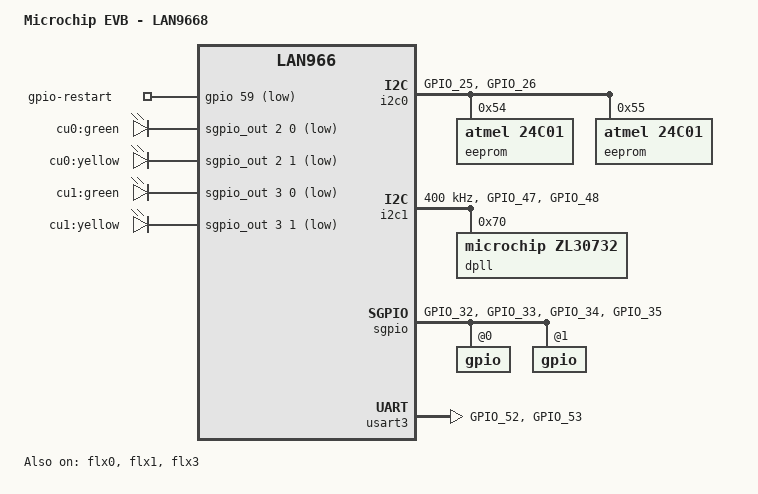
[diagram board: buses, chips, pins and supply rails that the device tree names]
// SPDX-License-Identifier: (GPL-2.0+ OR MIT)
/*
 * lan966x-pcb8385.dts - Device Tree file for PCB8385
 */
/dts-v1/;

#include "lan966x.dtsi"
#include "dt-bindings/phy/phy-lan966x-serdes.h"

/ {
	model = "Microchip EVB - LAN9668";
	compatible = "microchip,lan9668-pcb8385", "microchip,lan9668", "microchip,lan966";

	aliases {
		serial0 = &usart3;
	};

	chosen {
		stdout-path = "serial0:115200n8";
	};

	gpio-restart {
		compatible = "gpio-restart";
		gpios = <&gpio 59 GPIO_ACTIVE_LOW>;
		open-source;
		priority = <200>;
	};

	leds {
		compatible = "gpio-leds";

		led-p1-green {
			label = "cu0:green";
			gpios = <&sgpio_out 2 0 GPIO_ACTIVE_LOW>;
			default-state = "off";
		};

		led-p1-yellow {
			label = "cu0:yellow";
			gpios = <&sgpio_out 2 1 GPIO_ACTIVE_LOW>;
			default-state = "off";
		};

		led-p2-green {
			label = "cu1:green";
			gpios = <&sgpio_out 3 0 GPIO_ACTIVE_LOW>;
			default-state = "off";
		};

		led-p2-yellow {
			label = "cu1:yellow";
			gpios = <&sgpio_out 3 1 GPIO_ACTIVE_LOW>;
			default-state = "off";
		};
	};
};

&aes {
	status = "reserved"; /* Reserved by secure OS */
};

&flx0 {
	atmel,flexcom-mode = <ATMEL_FLEXCOM_MODE_TWI>;
	status = "okay";
};

&flx1 {
	atmel,flexcom-mode = <ATMEL_FLEXCOM_MODE_TWI>;
	status = "okay";
};

&flx3 {
	atmel,flexcom-mode = <ATMEL_FLEXCOM_MODE_USART>;
	status = "okay";
};

&gpio {
	fc0_b_pins: fc0-b-pins {
		/* SCL, SDA */
		pins = "GPIO_25", "GPIO_26";
		function = "fc0_b";
	};

	fc1_c_pins: fc1-c-pins {
		/* SCL, SDA */
		pins  = "GPIO_47", "GPIO_48";
		function = "fc1_c";
	};

	fc3_b_pins: fc3-b-pins {
		/* RX, TX */
		pins = "GPIO_52", "GPIO_53";
		function = "fc3_b";
	};

	sgpio_a_pins: sgpio-a-pins {
		/* SCK, D0, D1, LD */
		pins = "GPIO_32", "GPIO_33", "GPIO_34", "GPIO_35";
		function = "sgpio_a";
	};
};

&i2c0 {
	pinctrl-0 = <&fc0_b_pins>;
	pinctrl-names = "default";
	dmas = <0>, <0>;
	i2c-analog-filter;
	i2c-digital-filter;
	i2c-digital-filter-width-ns = <35>;
	i2c-sda-hold-time-ns = <1500>;
	status = "okay";

	eeprom@54 {
		compatible = "atmel,24c01";
		reg = <0x54>;
	};

	eeprom@55 {
		compatible = "atmel,24c01";
		reg = <0x55>;
	};
};

&i2c1 {
	pinctrl-0 = <&fc1_c_pins>;
	pinctrl-names = "default";
	clock-frequency = <400000>;
	dmas = <0>, <0>;
	i2c-analog-filter;
	i2c-digital-filter;
	i2c-digital-filter-width-ns = <35>;
	i2c-sda-hold-time-ns = <1500>;
	status = "okay";

	dpll@70 {
		compatible = "microchip,zl30732";
		reg = <0x70>;
		#address-cells = <0>;
		#size-cells = <0>;
		status = "okay";

		dpll-types = "eec", "pps";

		input-pins {
			#address-cells = <1>;
			#size-cells = <0>;

			pin@0 { /* REF0P */
				reg = <0>;

				connection-type = "ext";
				esync-control;
				label = "SyncE IN M1 CLK1";
				supported-frequencies-hz = /bits/ 64 <1
								      25
								      100
								      1000
								      10000000
								      25000000
								      62500000
								      78125000
								      100000000
								      125000000>;
			};
			pin@1 { /* REF0N */
				reg = <1>;

				connection-type = "ext";
				esync-control;
				label = "SyncE IN M1 CLK2";
				supported-frequencies-hz = /bits/ 64 <1
								      25
								      100
								      1000
								      10000000
								      25000000
								      62500000
								      78125000
								      100000000
								      125000000>;
			};
			pin@2 { /* REF1P */
				reg = <2>;

				connection-type = "ext";
				esync-control;
				label = "SyncE IN M2 CLK1";
				supported-frequencies-hz = /bits/ 64 <1
								      25
								      100
								      1000
								      10000000
								      25000000
								      62500000
								      78125000
								      100000000
								      125000000>;
			};
			pin@3 { /* REF1N */
				reg = <3>;

				connection-type = "ext";
				esync-control;
				label = "SyncE IN M2 CLK2";
				supported-frequencies-hz = /bits/ 64 <1
								      25
								      100
								      1000
								      10000000
								      25000000
								      62500000
								      78125000
								      100000000
								      125000000>;
			};
			pin@4 { /* REF2P */
				reg = <4>;

				connection-type = "ext";
				esync-control;
				label = "Station CLK IN";
				supported-frequencies-hz = /bits/ 64 <1
								      25
								      100
								      1000
								      10000000
								      25000000
								      62500000
								      78125000
								      100000000
								      125000000>;
			};
			pin@5 { /* REF2N */
				reg = <5>;

				connection-type = "ext";
				esync-control;
				label = "1PPS IN";
				supported-frequencies-hz = /bits/ 64 <1
								      25
								      100
								      1000
								      10000000
								      25000000
								      62500000
								      78125000
								      100000000
								      125000000>;
			};
			pin@7 { /* REF3N */
				reg = <7>;

				connection-type = "ext";
				esync-control;
				label = "Feedb 1PPS IN";
				supported-frequencies-hz = /bits/ 64 <1
								      25
								      100
								      1000
								      10000000
								      25000000
								      62500000
								      78125000
								      100000000
								      125000000>;
			};
			pin@8 { /* REF4P */
				reg = <8>;

				connection-type = "ext";
				esync-control;
				label = "Feedb 25M IN";
				supported-frequencies-hz = /bits/ 64 <1
								      25
								      100
								      1000
								      10000000
								      25000000
								      62500000
								      78125000
								      100000000
								      125000000>;
			};
			pin@9 { /* REF4N */
				reg = <9>;

				connection-type = "ext";
				esync-control;
				label = "REF_TEST 10M";
				supported-frequencies-hz = /bits/ 64 <1
								      25
								      100
								      1000
								      10000000
								      25000000
								      62500000
								      78125000
								      100000000
								      125000000>;
			};
		};

		output-pins {
			#address-cells = <1>;
			#size-cells = <0>;

			pin@0 { /* OUT0P */
				reg = <0x0>;

				connection-type = "gnss";
				esync-control;
				label = "Feedb 25M OUT";
				supported-frequencies-hz = /bits/ 64 <1
								      25
								      100
								      1000
								      10000000
								      25000000>;
			};
			pin@1 { /* OUT0N */
				reg = <0x1>;

				connection-type = "gnss";
				esync-control;
				label = "1PPS OUT";
				supported-frequencies-hz = /bits/ 64 <1
								      25
								      100
								      1000
								      10000000
								      25000000>;
			};
			pin@2 { /* OUT1P */
				reg = <0x2>;

				connection-type = "gnss";
				esync-control;
				label = "1PPS M1 OUT";
				supported-frequencies-hz = /bits/ 64 <1
								      25
								      100
								      1000
								      10000000
								      25000000>;
			};
			pin@3 { /* OUT1N */
				reg = <0x3>;

				connection-type = "gnss";
				esync-control;
				label = "1PPS M2 OUT";
				supported-frequencies-hz = /bits/ 64 <1
								      25
								      100
								      1000
								      10000000
								      25000000>;
			};
			pin@4 { /* OUT2P */
				reg = <0x4>;

				connection-type = "gnss";
				esync-control;
				label = "Station CLK OUT";
				supported-frequencies-hz = /bits/ 64 <1
								      25
								      100
								      1000
								      10000000
								      25000000>;
			};
			pin@6 { /* OUT3P & OUT3N LVDS */
				reg = <0x6>;

				connection-type = "gnss";
				esync-control;
				label = "CLK125M1 OUT";
				supported-frequencies-hz = /bits/ 64 <1
								      25
								      100
								      1000
								      10000000
								      25000000>;
			};
			pin@8 { /* OUT4P & OUT4N LVDS */
				reg = <0x8>;

				connection-type = "gnss";
				esync-control;
				label = "CLK125M2 OUT";
				supported-frequencies-hz = /bits/ 64 <1
								      25
								      100
								      1000
								      10000000
								      25000000>;
			};
			pin@c { /* OUT6P & OUT6N LVDS */
				reg = <0xc>;

				connection-type = "gnss";
				esync-control;
				label = "SyncE Local OUT";
				supported-frequencies-hz = /bits/ 64 <1
								      25
								      100
								      1000
								      10000000
								      25000000>;
			};
			pin@e { /* OUT7P & OUT7N LVDS */
				reg = <0xe>;

				connection-type = "gnss";
				esync-control;
				label = "SyncE Diff M1 OUT";
				supported-frequencies-hz = /bits/ 64 <1
								      25
								      100
								      1000
								      10000000
								      25000000>;
			};
			pin@10 { /* OUT8P & OUT8N LVDS */
				reg = <0x10>;

				connection-type = "gnss";
				esync-control;
				label = "SyncE Diff M2 OUT";
				supported-frequencies-hz = /bits/ 64 <1
								      25
								      100
								      1000
								      10000000
								      25000000>;
			};
			pin@12 { /* OUT9P */
				reg = <0x12>;

				connection-type = "gnss";
				esync-control;
				label = "SyncE M1 OUT";
				supported-frequencies-hz = /bits/ 64 <1
								      25
								      100
								      1000
								      10000000
								      25000000>;
			};
			pin@13 { /* OUT9N */
				reg = <0x13>;

				connection-type = "gnss";
				esync-control;
				label = "SyncE M2 OUT";
				supported-frequencies-hz = /bits/ 64 <1
								      25
								      100
								      1000
								      10000000
								      25000000>;
			};
		};
	};
};

&sgpio {
	pinctrl-0 = <&sgpio_a_pins>;
	pinctrl-names = "default";
	microchip,sgpio-port-ranges = <0 3>;
	status = "okay";

	gpio@0 {
		ngpios = <64>;
	};
	gpio@1 {
		ngpios = <64>;
	};
};

&usart3 {
	pinctrl-0 = <&fc3_b_pins>;
	pinctrl-names = "default";
	status = "okay";
};
